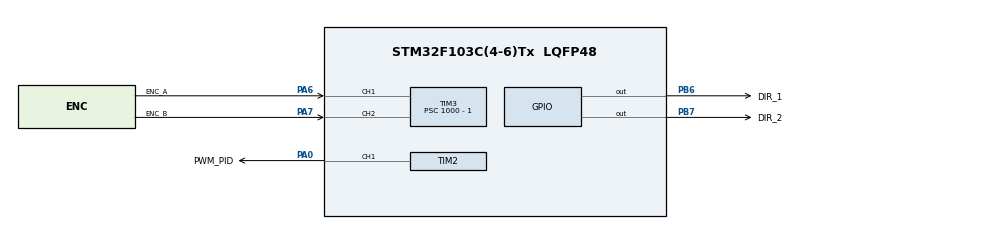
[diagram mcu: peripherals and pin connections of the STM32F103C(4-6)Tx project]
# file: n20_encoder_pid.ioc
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Mcu.Family=STM32F1
Mcu.Name=STM32F103C(4-6)Tx
Mcu.Package=LQFP48
NVIC.PriorityGroup=NVIC_PRIORITYGROUP_4
NVIC.TIM1_UP_IRQn=true\:0\:0\:false\:false\:true\:true\:true\:true
NVIC.TIM2_IRQn=true\:0\:0\:false\:false\:true\:true\:true\:true
NVIC.TIM3_IRQn=true\:0\:0\:false\:false\:true\:true\:true\:true
PA0-WKUP.GPIO_Label=PWM_PID
PA0-WKUP.Signal=S_TIM2_CH1_ETR
PA13.Mode=Serial_Wire
PA13.Signal=SYS_JTMS-SWDIO
PA14.Mode=Serial_Wire
PA14.Signal=SYS_JTCK-SWCLK
PA6.GPIO_Label=ENC_A
PA6.Signal=S_TIM3_CH1
PA7.GPIO_Label=ENC_B
PA7.Signal=S_TIM3_CH2
PB6.GPIO_Label=DIR_1
PB6.Signal=GPIO_Output
PB7.GPIO_Label=DIR_2
PB7.Signal=GPIO_Output
ProjectManager.HeapSize=0x200
ProjectManager.StackSize=0x400
ProjectManager.TargetToolchain=STM32CubeIDE
RCC.APB1Freq_Value=8000000
RCC.APB2Freq_Value=8000000
SH.S_TIM2_CH1_ETR.0=TIM2_CH1,PWM Generation1 CH1
SH.S_TIM3_CH1.0=TIM3_CH1,Encoder_Interface
SH.S_TIM3_CH2.0=TIM3_CH2,Encoder_Interface
TIM2.Channel-PWM\ Generation1\ CH1=TIM_CHANNEL_1
TIM2.Period=15
TIM2.Prescaler=19
TIM3.EncoderMode=TIM_ENCODERMODE_TI12
TIM3.Period=400 - 1
TIM3.Prescaler=1000 - 1
VP_TIM1_VS_ClockSourceINT.Mode=Internal
board=custom

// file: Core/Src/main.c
/* USER CODE BEGIN Header */
/**
  ******************************************************************************
  * @file           : main.c
  * @brief          : Main program body
  ******************************************************************************
  * @attention
  *
  * Copyright (c) 2025 STMicroelectronics.
  * All rights reserved.
  *
  * This software is licensed under terms that can be found in the LICENSE file
  * in the root directory of this software component.
  * If no LICENSE file comes with this software, it is provided AS-IS.
  *
  ******************************************************************************
  */
/* USER CODE END Header */
#include "main.h"

/* USER CODE BEGIN Includes */
#include "motor_encoder.h"
#include "pid.h"
/* USER CODE END Includes */

/* USER CODE BEGIN PTD */
volatile Encoder_data n20_encoder;
/* USER CODE END PTD */

TIM_HandleTypeDef htim1;
TIM_HandleTypeDef htim2;
TIM_HandleTypeDef htim3;

/* USER CODE BEGIN PV */
volatile _Bool speed_compute_flag, pid_compute_flag;
volatile uint32_t current_ms, prev_ms; //Used to update speed from position using Hal_GetTick
int16_t current_count; //Current encoder count
int16_t prev_count; //Previous encoder count
int16_t pwm_output;
int32_t current_position;
int32_t target_speed; //RPM
/* USER CODE END PV */

void SystemClock_Config(void);
static void MX_GPIO_Init(void);
static void MX_TIM3_Init(void);
static void MX_TIM2_Init(void);
static void MX_TIM1_Init(void);

int main(void)
{

  /* MCU Configuration--------------------------------------------------------*/

  /* Reset of all peripherals, Initializes the Flash interface and the Systick. */
  HAL_Init();

  /* Configure the system clock */
  SystemClock_Config();

  /* Initialize all configured peripherals */
  MX_GPIO_Init();
  MX_TIM3_Init();
  MX_TIM2_Init();
  MX_TIM1_Init();
  /* USER CODE BEGIN 2 */
  //1000 rpm motor can take at least 60ms to rotate
  HAL_TIM_Encoder_Start(&htim3, TIM_CHANNEL_ALL); //TIM_CHANNEL_ALL);
  __HAL_TIM_ENABLE_IT(&htim3, TIM_IT_UPDATE);//HAL_TIM_Base_Start_IT(&htim3);
  // Start PWM Generation
  HAL_TIM_PWM_Start(&htim2, TIM_CHANNEL_1);
  // Timer for speed updates
  HAL_TIM_Base_Start_IT(&htim1);
  /* USER CODE END 2 */

  /* Infinite loop */
  /* USER CODE BEGIN WHILE */
  while (1)
  {
	  if (speed_compute_flag){
		  update_encoder(&n20_encoder, &htim1);
	  }
	  if (pid_compute_flag){
		  pid_pwm(n20_encoder, 1, &htim2);
	  }

    /* USER CODE END WHILE */

  }
}

void SystemClock_Config(void)
{
  RCC_OscInitTypeDef RCC_OscInitStruct = {0};
  RCC_ClkInitTypeDef RCC_ClkInitStruct = {0};

  /** Initializes the RCC Oscillators according to the specified parameters
  * in the RCC_OscInitTypeDef structure.
  */
  RCC_OscInitStruct.OscillatorType = RCC_OSCILLATORTYPE_HSI;
  RCC_OscInitStruct.HSIState = RCC_HSI_ON;
  RCC_OscInitStruct.HSICalibrationValue = RCC_HSICALIBRATION_DEFAULT;
  RCC_OscInitStruct.PLL.PLLState = RCC_PLL_NONE;
  if (HAL_RCC_OscConfig(&RCC_OscInitStruct) != HAL_OK)
  {
    Error_Handler();
  }

  /** Initializes the CPU, AHB and APB buses clocks
  */
  RCC_ClkInitStruct.ClockType = RCC_CLOCKTYPE_HCLK|RCC_CLOCKTYPE_SYSCLK
                              |RCC_CLOCKTYPE_PCLK1|RCC_CLOCKTYPE_PCLK2;
  RCC_ClkInitStruct.SYSCLKSource = RCC_SYSCLKSOURCE_HSI;
  RCC_ClkInitStruct.AHBCLKDivider = RCC_SYSCLK_DIV1;
  RCC_ClkInitStruct.APB1CLKDivider = RCC_HCLK_DIV1;
  RCC_ClkInitStruct.APB2CLKDivider = RCC_HCLK_DIV1;

  if (HAL_RCC_ClockConfig(&RCC_ClkInitStruct, FLASH_LATENCY_0) != HAL_OK)
  {
    Error_Handler();
  }
}

static void MX_TIM1_Init(void)
{

  TIM_ClockConfigTypeDef sClockSourceConfig = {0};
  TIM_MasterConfigTypeDef sMasterConfig = {0};

  htim1.Instance = TIM1;
  htim1.Init.Prescaler = 0;
  htim1.Init.CounterMode = TIM_COUNTERMODE_UP;
  htim1.Init.Period = 65535;
  htim1.Init.ClockDivision = TIM_CLOCKDIVISION_DIV1;
  htim1.Init.RepetitionCounter = 0;
  htim1.Init.AutoReloadPreload = TIM_AUTORELOAD_PRELOAD_DISABLE;
  if (HAL_TIM_Base_Init(&htim1) != HAL_OK)
  {
    Error_Handler();
  }
  sClockSourceConfig.ClockSource = TIM_CLOCKSOURCE_INTERNAL;
  if (HAL_TIM_ConfigClockSource(&htim1, &sClockSourceConfig) != HAL_OK)
  {
    Error_Handler();
  }
  sMasterConfig.MasterOutputTrigger = TIM_TRGO_RESET;
  sMasterConfig.MasterSlaveMode = TIM_MASTERSLAVEMODE_DISABLE;
  if (HAL_TIMEx_MasterConfigSynchronization(&htim1, &sMasterConfig) != HAL_OK)
  {
    Error_Handler();
  }

}

static void MX_TIM2_Init(void)
{

  TIM_MasterConfigTypeDef sMasterConfig = {0};
  TIM_OC_InitTypeDef sConfigOC = {0};

  htim2.Instance = TIM2;
  htim2.Init.Prescaler = 19;
  htim2.Init.CounterMode = TIM_COUNTERMODE_UP;
  htim2.Init.Period = 15;
  htim2.Init.ClockDivision = TIM_CLOCKDIVISION_DIV1;
  htim2.Init.AutoReloadPreload = TIM_AUTORELOAD_PRELOAD_DISABLE;
  if (HAL_TIM_PWM_Init(&htim2) != HAL_OK)
  {
    Error_Handler();
  }
  sMasterConfig.MasterOutputTrigger = TIM_TRGO_RESET;
  sMasterConfig.MasterSlaveMode = TIM_MASTERSLAVEMODE_DISABLE;
  if (HAL_TIMEx_MasterConfigSynchronization(&htim2, &sMasterConfig) != HAL_OK)
  {
    Error_Handler();
  }
  sConfigOC.OCMode = TIM_OCMODE_PWM1;
  sConfigOC.Pulse = 0;
  sConfigOC.OCPolarity = TIM_OCPOLARITY_HIGH;
  sConfigOC.OCFastMode = TIM_OCFAST_DISABLE;
  if (HAL_TIM_PWM_ConfigChannel(&htim2, &sConfigOC, TIM_CHANNEL_1) != HAL_OK)
  {
    Error_Handler();
  }
  HAL_TIM_MspPostInit(&htim2);

}

static void MX_TIM3_Init(void)
{

  TIM_Encoder_InitTypeDef sConfig = {0};
  TIM_MasterConfigTypeDef sMasterConfig = {0};

  htim3.Instance = TIM3;
  htim3.Init.Prescaler = 1000 - 1;
  htim3.Init.CounterMode = TIM_COUNTERMODE_UP;
  htim3.Init.Period = 400 - 1;
  htim3.Init.ClockDivision = TIM_CLOCKDIVISION_DIV1;
  htim3.Init.AutoReloadPreload = TIM_AUTORELOAD_PRELOAD_DISABLE;
  sConfig.EncoderMode = TIM_ENCODERMODE_TI12;
  sConfig.IC1Polarity = TIM_ICPOLARITY_RISING;
  sConfig.IC1Selection = TIM_ICSELECTION_DIRECTTI;
  sConfig.IC1Prescaler = TIM_ICPSC_DIV1;
  sConfig.IC1Filter = 0;
  sConfig.IC2Polarity = TIM_ICPOLARITY_RISING;
  sConfig.IC2Selection = TIM_ICSELECTION_DIRECTTI;
  sConfig.IC2Prescaler = TIM_ICPSC_DIV1;
  sConfig.IC2Filter = 0;
  if (HAL_TIM_Encoder_Init(&htim3, &sConfig) != HAL_OK)
  {
    Error_Handler();
  }
  sMasterConfig.MasterOutputTrigger = TIM_TRGO_RESET;
  sMasterConfig.MasterSlaveMode = TIM_MASTERSLAVEMODE_DISABLE;
  if (HAL_TIMEx_MasterConfigSynchronization(&htim3, &sMasterConfig) != HAL_OK)
  {
    Error_Handler();
  }
  /* USER CODE BEGIN TIM3_Init 2 */

  //
  /* USER CODE END TIM3_Init 2 */

}

static void MX_GPIO_Init(void)
{
  GPIO_InitTypeDef GPIO_InitStruct = {0};

  /* GPIO Ports Clock Enable */
  __HAL_RCC_GPIOA_CLK_ENABLE();
  __HAL_RCC_GPIOB_CLK_ENABLE();

  /*Configure GPIO pin Output Level */
  HAL_GPIO_WritePin(GPIOB, DIR_1_Pin|DIR_2_Pin, GPIO_PIN_RESET);

  /*Configure GPIO pins : DIR_1_Pin DIR_2_Pin */
  GPIO_InitStruct.Pin = DIR_1_Pin|DIR_2_Pin;
  GPIO_InitStruct.Mode = GPIO_MODE_OUTPUT_PP;
  GPIO_InitStruct.Pull = GPIO_NOPULL;
  GPIO_InitStruct.Speed = GPIO_SPEED_FREQ_LOW;
  HAL_GPIO_Init(GPIOB, &GPIO_InitStruct);

}

/* USER CODE BEGIN 4 */
void HAL_TIM_PeriodElapsedCallback(TIM_HandleTypeDef *htim) {
	// Control Motor Speed
	if (htim->Instance == TIM1) { // Timer update interrupt
		speed_compute_flag = 1;

	}
	else if (htim->Instance == TIM2) { // Timer update interrupt
		pid_compute_flag = 1;
	}
        //__HAL_TIM_SET_COMPARE(htim, TIM_CHANNEL_1, pwm_output);

}
/* USER CODE END 4 */

void Error_Handler(void)
{
  __disable_irq();
  while (1)
  {
  }
}
